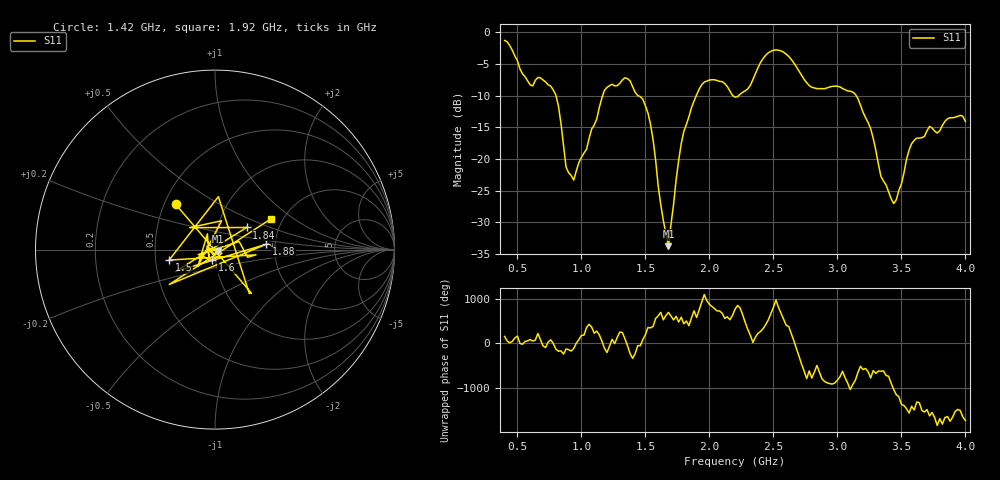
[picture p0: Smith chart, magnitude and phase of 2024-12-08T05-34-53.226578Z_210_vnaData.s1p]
!Created with skrf (http://scikit-rf.org).
# Hz S RI R 50.0
!freq ReS11 ImS11
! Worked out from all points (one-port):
!   181 points, 400 MHz to 4 GHz, reference 50 ohm
!   lowest |S11| = -33.8 dB at 1.68 GHz (marker M1), VSWR 1.04, Z = 51.8 - j1.02 ohm
!   |S11| at or under -10 dB: 801.2 MHz to 1.166 GHz (365.1 MHz wide, 37.1 % of centre); 1.441 GHz to 1.897 GHz (456.8 MHz wide, 27.4 % of centre); 3.146 GHz to end of sweep (the widest 3 of 4)
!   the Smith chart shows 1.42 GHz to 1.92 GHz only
!   S11 on the Smith chart (normalised r, x): 1.42 GHz: 0.57, +0.33; 1.5 GHz: 0.59, -0.07; 1.6 GHz: 0.96, -0.11; 1.84 GHz: 1.38, +0.36; 1.88 GHz: 1.79, +0.11; 1.92 GHz: 1.74, +0.68
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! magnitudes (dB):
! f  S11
! 400 MHz  -1.3
! 600 MHz  -8.3
! 780 MHz  -9.1
! 860 MHz  -17.8
! 880 MHz  -21.3
! 940 MHz  -23.3
! 1.18 GHz  -9.2
! 1.3 GHz  -8.1
! 1.42 GHz  -9.5
! 1.5 GHz  -11.6
! 1.56 GHz  -17.0
! 1.6 GHz  -24.3
! 1.68 GHz  -33.8
! 1.76 GHz  -20.2
! 1.84 GHz  -13.3
! 1.88 GHz  -10.9
! 1.92 GHz  -9.0
! 2.2 GHz  -10.2
! 2.46 GHz  -3.3
! 2.66 GHz  -4.9
! 2.8 GHz  -8.7
! 3.1 GHz  -9.3
! 3.26 GHz  -15.2
! 3.34 GHz  -22.8
! 3.44 GHz  -27.0
! 3.56 GHz  -18.6
! 3.72 GHz  -14.9
! 4 GHz  -14.1
